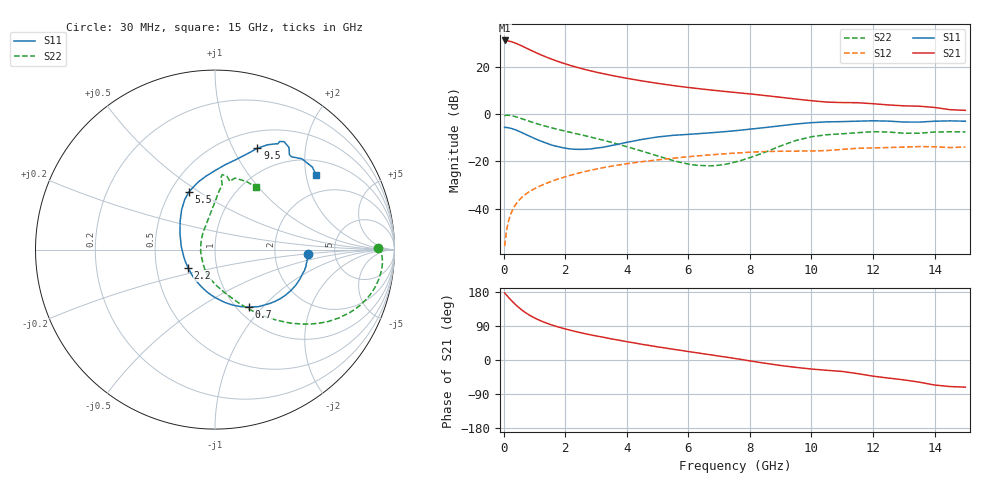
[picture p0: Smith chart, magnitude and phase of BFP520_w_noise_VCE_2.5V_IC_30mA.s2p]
! Infineon Technologies  Discrete & RF Semiconductors
! BFP520
! VCE =  2.5 V,  IC =  30 mA
! Common Emitter S-Parameters:  Oct 2015
# GHz  S  MA  R  50
!  f  S11  S21  S12  S22
! GHz  MAG  ANG  MAG  ANG  MAG  ANG  MAG  ANG
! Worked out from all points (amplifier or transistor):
!   109 points, 30 MHz to 15 GHz, reference 50 ohm
!   highest |S21| = 31.0 dB at 30 MHz (marker M1)
!   |S21| within 3 dB of that: start of sweep to 699.1 MHz
!   unconditionally stable (mu >= 1): start of sweep to 33.55 MHz; 2.52 GHz to end of sweep
!   at 450 MHz: K = 0.42, MSG = 33.4 dB, |S12| = -37.3 dB
!   at 4 GHz: K = 1.11, MAG = 16.0 dB, |S12| = -21.1 dB
!   at 15 GHz: K = 1.25, MAG = 4.8 dB, |S12| = -14.0 dB
!   lowest NFmin = 2.46 dB at 900 MHz
!   S11 on the Smith chart (normalised r, x): 30 MHz: 3.12, -0.19; 700 MHz: 1.13, -0.84; 2.2 GHz: 0.73, -0.15; 5.5 GHz: 0.62, +0.45; 9.5 GHz: 0.69, +1.25; 15 GHz: 1.42, +2.29
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0.03  0.5163 -2.5  35.6 176.9  0.0016 99.4  0.9106 0.7
0.14  0.5112 -13.6  34.85 166.9  0.0048 82.8  0.9352 -6.6
0.2  0.5005 -19.3  34.17 161.5  0.0067 81.0  0.9274 -10.3
0.25  0.4915 -24.0  33.5 157.1  0.0082 79.4  0.9162 -13.3
0.35  0.4681 -32.8  31.84 148.9  0.0111 76.9  0.8844 -18.6
0.5  0.4266 -44.9  28.96 137.9  0.015 73.9  0.8264 -25.3
0.6  0.4003 -52.5  27.06 131.3  0.0175 72.3  0.7857 -29.1
0.7  0.3722 -59.5  25.19 125.5  0.0197 71.0  0.7464 -32.5
0.8  0.3474 -66.0  23.42 120.2  0.022 69.8  0.7095 -35.3
1  0.303 -78.4  20.37 111.1  0.0262 68.2  0.6432 -40.2
1.3  0.2521 -95.6  16.72 100.2  0.0324 66.2  0.5626 -45.9
1.7  0.2072 -118.3  13.26 88.9  0.0406 63.8  0.4804 -52.0
2.2  0.181 -146.0  10.4 77.8  0.051 60.7  0.4026 -58.4
2.6  0.1786 -167.2  8.809 70.2  0.0595 57.7  0.3504 -63.3
3.5  0.2141 155.7  6.499 55.6  0.0785 49.9  0.2503 -76.5
5.1  0.3301 119.9  4.327 33.5  0.1084 35.0  0.1236 -117.5
5.5  0.3521 114.5  3.975 28.4  0.1155 31.5  0.1035 -129.7
7.6  0.446 88.7  2.801 2.9  0.1494 11.4  0.0991 138.0
9.5  0.6118 67.3  2.054 -19.5  0.1631 -7.1  0.2743 89.4
10.5  0.6783 60.3  1.773 -27.2  0.168 -12.5  0.3623 83.7
13  0.6719 51.9  1.479 -52.4  0.1988 -34.1  0.3897 77.7
15  0.6997 36.2  1.187 -71.6  0.1991 -50.5  0.4155 57.1
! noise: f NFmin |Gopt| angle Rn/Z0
0.45  2.47  0.05  -117  0.28
0.9  2.46  0.06  -118  0.32
1.9  2.61  0.11  -111  0.3
2.4  2.62  0.13  -109  0.3
3.5  2.57  0.15  -102  0.33
